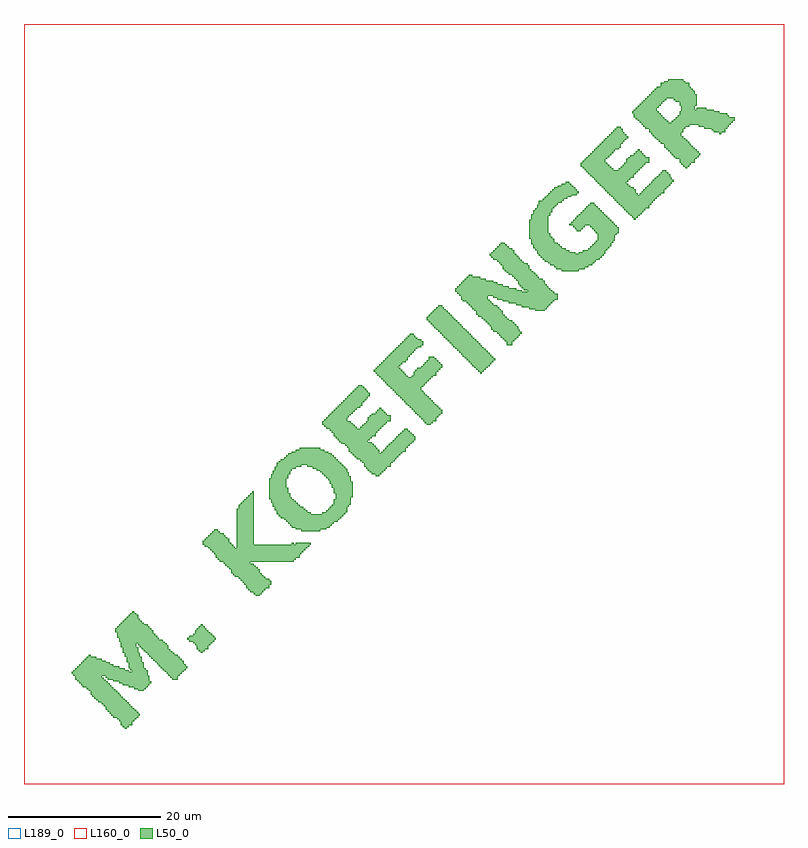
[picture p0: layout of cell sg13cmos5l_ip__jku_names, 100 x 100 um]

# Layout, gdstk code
import gdstk
lib = gdstk.Library(unit=1e-6, precision=1e-09)
def R(c, l, rs):  # rectangles x0, y0, x1, y1
    for r in rs: c.add(gdstk.rectangle(r[:2], r[2:], *l))
def P(c, l, *ps):  # polygons
    for p in ps: c.add(gdstk.Polygon(p, *l))
L50_0 = (50, 0)
L160_0 = (160, 0)
L189_0 = (189, 0)

sg13cmos5l_ip__jku_names = lib.new_cell('sg13cmos5l_ip__jku_names')
P(sg13cmos5l_ip__jku_names, L50_0, [(23.25,17.25),(23.25,17.5),(23,17.5),(23,17.75),(22.75,17.75),(22.75,18.25),(22.5,18.25),(22.5,18.5),(22.25,18.5),(22.25,18.75),(21.75,18.75),(21.75,19),(21.5,19),(21.5,19.25),(21.75,19.25),(21.75,19.5),(22.25,19.5),(22.25,19.75),(22.5,19.75),(22.5,20.25),(22.75,20.25),(22.75,20.5),(23,20.5),(23,20.75),(23.25,20.75),(23.25,21),(23.5,21),(23.5,20.75),(23.75,20.75),(23.75,20.5),(24,20.5),(24,20.25),(24.25,20.25),(24.25,20),(24.5,20),(24.5,19.75),(24.75,19.75),(24.75,19.5),(25,19.5),(25,19.25),(25.25,19.25),(25.25,19),(25,19),(25,18.75),(24.75,18.75),(24.75,18.5),(24.5,18.5),(24.5,18.25),(24.25,18.25),(24.25,17.75),(23.75,17.75),(23.75,17.5),(23.5,17.5),(23.5,17.25)],
  [(13.25,7.25),(13.25,7.5),(13,7.5),(13,7.75),(12.75,7.75),(12.75,8.25),(12.5,8.25),(12.5,8.5),(12.25,8.5),(12.25,8.75),(11.75,8.75),(11.75,9),(11.5,9),(11.5,9.25),(11.25,9.25),(11.25,9.5),(11,9.5),(11,9.75),(10.75,9.75),(10.75,10.25),(10.5,10.25),(10.5,10.5),(10.25,10.5),(10.25,10.75),(9.75,10.75),(9.75,11),(9.5,11),(9.5,11.25),(9.25,11.25),(9.25,11.5),(9,11.5),(9,11.75),(8.75,11.75),(8.75,12.25),(8.5,12.25),(8.5,12.5),(8.25,12.5),(8.25,12.75),(7.75,12.75),(7.75,13),(7.5,13),(7.5,13.25),(7.25,13.25),(7.25,13.5),(7,13.5),(7,13.75),(6.75,13.75),(6.75,14.25),(6.5,14.25),(6.5,14.5),(6.25,14.5),(6.25,14.75),(6.5,14.75),(6.5,15),(6.75,15),(6.75,15.25),(7,15.25),(7,15.5),(7.25,15.5),(7.25,15.75),(7.5,15.75),(7.5,16),(7.75,16),(7.75,16.25),(8,16.25),(8,16.5),(8.25,16.5),(8.25,16.75),(8.5,16.75),(8.5,17),(8.75,17),(8.75,16.75),(9.5,16.75),(9.5,16.5),(10.25,16.5),(10.25,16.25),(10.75,16.25),(10.75,16),(11.25,16),(11.25,15.75),(11.75,15.75),(11.75,15.5),(12.5,15.5),(12.5,15.25),(13.25,15.25),(13.25,15),(13.75,15),(13.75,14.75),(14.25,14.75),(14.25,15),(14,15),(14,15.25),(13.75,15.25),(13.75,16),(13.5,16),(13.5,16.75),(13.25,16.75),(13.25,17.25),(13,17.25),(13,18),(12.75,18),(12.75,18.75),(12.5,18.75),(12.5,19.25),(12.25,19.25),(12.25,20),(12,20),(12,20.5),(12.25,20.5),(12.25,20.75),(12.5,20.75),(12.5,21),(12.75,21),(12.75,21.25),(13,21.25),(13,21.5),(13.25,21.5),(13.25,21.75),(13.5,21.75),(13.5,22),(13.75,22),(13.75,22.25),(14,22.25),(14,22.5),(14.25,22.5),(14.25,22.75),(14.5,22.75),(14.5,22.5),(14.75,22.5),(14.75,22.25),(15,22.25),(15,21.75),(15.25,21.75),(15.25,21.5),(15.5,21.5),(15.5,21.25),(15.75,21.25),(15.75,21),(16.25,21),(16.25,20.75),(16.5,20.75),(16.5,20.5),(16.75,20.5),(16.75,20.25),(17,20.25),(17,19.75),(17.25,19.75),(17.25,19.5),(17.5,19.5),(17.5,19.25),(17.75,19.25),(17.75,19),(18.25,19),(18.25,18.75),(18.5,18.75),(18.5,18.5),(18.75,18.5),(18.75,18.25),(19,18.25),(19,17.75),(19.25,17.75),(19.25,17.5),(19.5,17.5),(19.5,17.25),(19.75,17.25),(19.75,17),(20.25,17),(20.25,16.75),(20.5,16.75),(20.5,16.5),(20.75,16.5),(20.75,16.25),(21,16.25),(21,15.75),(21.25,15.75),(21.25,15.5),(21.5,15.5),(21.5,15.25),(21.25,15.25),(21.25,15),(21,15),(21,14.75),(20.75,14.75),(20.75,14.5),(20.5,14.5),(20.5,14.25),(20.25,14.25),(20.25,13.75),(19.5,13.75),(19.5,14),(19.25,14),(19.25,14.25),(19,14.25),(19,14.5),(18.75,14.5),(18.75,14.75),(18.5,14.75),(18.5,15),(18.25,15),(18.25,15.25),(18,15.25),(18,15.5),(17.75,15.5),(17.75,15.75),(17.5,15.75),(17.5,16),(17.25,16),(17.25,16.25),(17,16.25),(17,16.5),(16.75,16.5),(16.75,16.75),(16.5,16.75),(16.5,17),(16.25,17),(16.25,17.25),(16,17.25),(16,17.5),(15.75,17.5),(15.75,17.75),(15.5,17.75),(15.5,18),(15.25,18),(15.25,18.25),(15,18.25),(15,18.5),(14.75,18.5),(14.75,18),(15,18),(15,17.25),(15.25,17.25),(15.25,16.75),(15.5,16.75),(15.5,16),(15.75,16),(15.75,15.25),(16,15.25),(16,15),(16.25,15),(16.25,14.25),(16.5,14.25),(16.5,13.5),(16.75,13.5),(16.75,13.25),(16.5,13.25),(16.5,13),(16.25,13),(16.25,12.75),(16,12.75),(16,12.5),(15.75,12.5),(15.75,12.25),(15,12.25),(15,12.5),(14.5,12.5),(14.5,12.75),(13.75,12.75),(13.75,13),(13,13),(13,13.25),(12.5,13.25),(12.5,13.5),(11.75,13.5),(11.75,13.75),(11,13.75),(11,14),(10.75,14),(10.75,14.25),(10.25,14.25),(10.25,14),(10.5,14),(10.5,13.75),(10.75,13.75),(10.75,13.5),(11,13.5),(11,13.25),(11.25,13.25),(11.25,13),(11.5,13),(11.5,12.75),(11.75,12.75),(11.75,12.5),(12,12.5),(12,12.25),(12.25,12.25),(12.25,12),(12.5,12),(12.5,11.75),(12.75,11.75),(12.75,11.5),(13,11.5),(13,11.25),(13.25,11.25),(13.25,11),(13.5,11),(13.5,10.75),(13.75,10.75),(13.75,10.5),(14,10.5),(14,10.25),(14.25,10.25),(14.25,10),(14.5,10),(14.5,9.75),(14.75,9.75),(14.75,9.5),(15,9.5),(15,9.25),(15.25,9.25),(15.25,9),(15,9),(15,8.75),(14.75,8.75),(14.75,8.5),(14.5,8.5),(14.5,8.25),(14.25,8.25),(14.25,7.75),(13.75,7.75),(13.75,7.5),(13.5,7.5),(13.5,7.25)],
  [(30.5,24.75),(30.5,25),(30.25,25),(30.25,25.25),(29.75,25.25),(29.75,25.5),(29.5,25.5),(29.5,25.75),(29.25,25.75),(29.25,26.25),(29,26.25),(29,26.5),(28.75,26.5),(28.75,26.75),(28.5,26.75),(28.5,27),(28.25,27),(28.25,27.25),(27.75,27.25),(27.75,27.5),(27.5,27.5),(27.5,27.75),(27.25,27.75),(27.25,28.25),(27,28.25),(27,28.5),(26.75,28.5),(26.75,28.75),(26.5,28.75),(26.5,29),(26.25,29),(26.25,29.25),(25.75,29.25),(25.75,29.5),(25.5,29.5),(25.5,29.75),(25.25,29.75),(25.25,30.25),(25,30.25),(25,30.5),(24.75,30.5),(24.75,30.75),(24.5,30.75),(24.5,31),(24.25,31),(24.25,31.25),(23.75,31.25),(23.75,31.5),(23.5,31.5),(23.5,32),(23.75,32),(23.75,32.25),(24,32.25),(24,32.5),(24.25,32.5),(24.25,32.75),(24.5,32.75),(24.5,33),(24.75,33),(24.75,33.25),(25,33.25),(25,33.5),(25.5,33.5),(25.5,33.25),(25.75,33.25),(25.75,33),(26.25,33),(26.25,32.75),(26.5,32.75),(26.5,32.5),(26.75,32.5),(26.75,32.25),(27,32.25),(27,31.75),(27.25,31.75),(27.25,31.5),(27.5,31.5),(27.5,31.25),(27.75,31.25),(27.75,31),(28,31),(28,36.25),(28.25,36.25),(28.25,36.75),(28.5,36.75),(28.5,37),(28.75,37),(28.75,37.25),(29,37.25),(29,37.5),(29.25,37.5),(29.25,37.75),(29.5,37.75),(29.5,38),(29.75,38),(29.75,38.25),(30,38.25),(30,38.5),(30.25,38.5),(30.25,31.5),(35.25,31.5),(35.25,31.75),(35.5,31.75),(35.5,31.5),(35.75,31.5),(35.75,31.75),(37.75,31.75),(37.75,31.5),(37.5,31.5),(37.5,31.25),(37.25,31.25),(37.25,31),(37,31),(37,30.75),(36.75,30.75),(36.75,30.5),(36.5,30.5),(36.5,30.25),(36.25,30.25),(36.25,29.75),(35.75,29.75),(35.75,29.5),(35.5,29.5),(35.5,29.25),(29.75,29.25),(29.75,29),(30.25,29),(30.25,28.75),(30.5,28.75),(30.5,28.5),(30.75,28.5),(30.75,28.25),(31,28.25),(31,27.75),(31.25,27.75),(31.25,27.5),(31.5,27.5),(31.5,27.25),(31.75,27.25),(31.75,27),(32.25,27),(32.25,26.75),(32.5,26.75),(32.5,26.25),(32.25,26.25),(32.25,25.75),(31.75,25.75),(31.75,25.5),(31.5,25.5),(31.5,25.25),(31.25,25.25),(31.25,25),(31,25),(31,24.75)],
  [(36.5,33.25),(36.5,33.5),(35.75,33.5),(35.75,33.75),(35.25,33.75),(35.25,34),(35,34),(35,34.25),(34.75,34.25),(34.75,34.5),(34.5,34.5),(34.5,34.75),(34.25,34.75),(34.25,35),(33.75,35),(33.75,35.25),(33.5,35.25),(33.5,35.5),(33.25,35.5),(33.25,36),(33,36),(33,36.5),(32.75,36.5),(32.75,37),(32.5,37),(32.5,37.5),(32.25,37.5),(32.25,40.25),(32.5,40.25),(32.5,40.75),(32.75,40.75),(32.75,41.25),(33,41.25),(33,41.75),(33.25,41.75),(33.25,42),(36.5,42),(36.5,41.75),(35.75,41.75),(35.75,41.5),(35.25,41.5),(35.25,41.25),(35,41.25),(35,40.75),(34.75,40.75),(34.75,40.25),(34.5,40.25),(34.5,39),(34.75,39),(34.75,38.25),(35,38.25),(35,37.75),(35.25,37.75),(35.25,37.5),(35.5,37.5),(35.5,37.25),(35.75,37.25),(35.75,37),(36,37),(36,36.75),(36.25,36.75),(36.25,36.5),(36.75,36.5),(36.75,36.25),(37,36.25),(37,36),(37.25,36),(37.25,35.75),(37.75,35.75),(37.75,35.5),(39.25,35.5),(39.25,35.75),(39.75,35.75),(39.75,36),(40,36),(40,36.25),(40.25,36.25),(40.25,36.5),(40.5,36.5),(40.5,36.75),(40.75,36.75),(40.75,37.5),(41,37.5),(41,38.25),(40.75,38.25),(40.75,39),(40.5,39),(40.5,39.5),(40.25,39.5),(40.25,40),(40,40),(40,40.25),(39.75,40.25),(39.75,40.5),(39.5,40.5),(39.5,40.75),(39.25,40.75),(39.25,41),(39,41),(39,41.25),(38.5,41.25),(38.5,41.5),(38,41.5),(38,41.75),(37.25,41.75),(37.25,42),(33.25,42),(33.25,42.25),(33.5,42.25),(33.5,42.5),(33.75,42.5),(33.75,42.75),(34.25,42.75),(34.25,43),(34.5,43),(34.5,43.25),(34.75,43.25),(34.75,43.5),(35.25,43.5),(35.25,43.75),(35.75,43.75),(35.75,44),(36.25,44),(36.25,44.25),(39,44.25),(39,44),(39.5,44),(39.5,43.75),(40,43.75),(40,43.5),(40.5,43.5),(40.5,43.25),(40.75,43.25),(40.75,43),(41,43),(41,42.75),(41.25,42.75),(41.25,42.5),(41.5,42.5),(41.5,42.25),(41.75,42.25),(41.75,42),(42,42),(42,41.75),(42.25,41.75),(42.25,41.5),(42.5,41.5),(42.5,41),(42.75,41),(42.75,40.5),(43,40.5),(43,39.75),(43.25,39.75),(43.25,37.75),(43,37.75),(43,36.75),(42.75,36.75),(42.75,36.5),(42.5,36.5),(42.5,35.75),(42.25,35.75),(42.25,35.5),(42,35.5),(42,35.25),(41.75,35.25),(41.75,35),(41.5,35),(41.5,34.75),(41.25,34.75),(41.25,34.5),(40.75,34.5),(40.75,34.25),(40.5,34.25),(40.5,34),(40.25,34),(40.25,33.75),(39.75,33.75),(39.75,33.5),(39,33.5),(39,33.25)],
  [(46.25,40.5),(46.25,40.75),(45.75,40.75),(45.75,41),(45.5,41),(45.5,41.25),(45.25,41.25),(45.25,41.5),(45,41.5),(45,41.75),(44.75,41.75),(44.75,42.25),(44.5,42.25),(44.5,42.5),(44.25,42.5),(44.25,42.75),(43.75,42.75),(43.75,43),(43.5,43),(43.5,43.25),(43.25,43.25),(43.25,43.5),(43,43.5),(43,43.75),(42.75,43.75),(42.75,44.25),(42.5,44.25),(42.5,44.5),(42.25,44.5),(42.25,44.75),(41.75,44.75),(41.75,45),(41.5,45),(41.5,45.25),(41.25,45.25),(41.25,45.5),(41,45.5),(41,45.75),(40.75,45.75),(40.75,46.25),(40.5,46.25),(40.5,46.5),(40.25,46.5),(40.25,46.75),(39.75,46.75),(39.75,47),(39.5,47),(39.5,47.25),(39.25,47.25),(39.25,47.75),(39.5,47.75),(39.5,48),(39.75,48),(39.75,48.25),(40,48.25),(40,48.5),(40.25,48.5),(40.25,48.75),(40.5,48.75),(40.5,49),(40.75,49),(40.75,49.25),(41,49.25),(41,49.5),(41.25,49.5),(41.25,49.75),(41.5,49.75),(41.5,50),(41.75,50),(41.75,50.25),(42,50.25),(42,50.5),(42.25,50.5),(42.25,50.75),(42.5,50.75),(42.5,51),(42.75,51),(42.75,51.25),(43,51.25),(43,51.5),(43.25,51.5),(43.25,51.75),(43.5,51.75),(43.5,52),(43.75,52),(43.75,52.25),(44,52.25),(44,52.5),(44.5,52.5),(44.5,52.25),(44.75,52.25),(44.75,52),(45,52),(45,51.75),(45.25,51.75),(45.25,51.5),(45.5,51.5),(45.5,51),(45.25,51),(45.25,50.75),(45,50.75),(45,50.5),(44.75,50.5),(44.75,50.25),(44.5,50.25),(44.5,49.75),(44.25,49.75),(44.25,49.5),(43.75,49.5),(43.75,49.25),(43.5,49.25),(43.5,49),(43.25,49),(43.25,48.75),(43,48.75),(43,48.5),(42.75,48.5),(42.75,48.25),(42.5,48.25),(42.5,47.75),(43,47.75),(43,47.5),(43.25,47.5),(43.25,47.25),(43.5,47.25),(43.5,47),(43.75,47),(43.75,46.75),(44.25,46.75),(44.25,47),(44.5,47),(44.5,47.25),(44.75,47.25),(44.75,47.5),(45,47.5),(45,47.75),(45.25,47.75),(45.25,48.25),(45.5,48.25),(45.5,48.5),(45.75,48.5),(45.75,48.75),(46.25,48.75),(46.25,49),(46.5,49),(46.5,49.25),(46.75,49.25),(46.75,49.5),(47,49.5),(47,49.25),(47.25,49.25),(47.25,49),(47.5,49),(47.5,48.75),(47.75,48.75),(47.75,48.5),(48.25,48.5),(48.25,47.75),(47.75,47.75),(47.75,47.5),(47.5,47.5),(47.5,47.25),(47.25,47.25),(47.25,47),(47,47),(47,46.75),(46.75,46.75),(46.75,46.5),(46.5,46.5),(46.5,46.25),(46.25,46.25),(46.25,45.75),(45.75,45.75),(45.75,45.5),(45.5,45.5),(45.5,45.25),(45.25,45.25),(45.25,45),(45.75,45),(45.75,44.75),(46,44.75),(46,44.5),(46.25,44.5),(46.25,44.25),(46.5,44.25),(46.5,44),(46.75,44),(46.75,43.5),(47,43.5),(47,43.75),(47.25,43.75),(47.25,44),(47.5,44),(47.5,44.25),(47.75,44.25),(47.75,44.5),(48,44.5),(48,44.75),(48.25,44.75),(48.25,45),(48.5,45),(48.5,45.25),(48.75,45.25),(48.75,45.5),(49,45.5),(49,45.75),(49.25,45.75),(49.25,46),(49.5,46),(49.5,46.25),(49.75,46.25),(49.75,46.5),(50,46.5),(50,46.75),(50.5,46.75),(50.5,46.5),(50.75,46.5),(50.75,46.25),(51,46.25),(51,46),(51.25,46),(51.25,45.75),(51.5,45.75),(51.5,45.25),(51.25,45.25),(51.25,45),(51,45),(51,44.75),(50.75,44.75),(50.75,44.5),(50.5,44.5),(50.5,44.25),(50.25,44.25),(50.25,43.75),(49.75,43.75),(49.75,43.5),(49.5,43.5),(49.5,43.25),(49.25,43.25),(49.25,43),(49,43),(49,42.75),(48.75,42.75),(48.75,42.5),(48.5,42.5),(48.5,42.25),(48.25,42.25),(48.25,41.75),(47.75,41.75),(47.75,41.5),(47.5,41.5),(47.5,41.25),(47.25,41.25),(47.25,41),(47,41),(47,40.75),(46.75,40.75),(46.75,40.5)],
  [(53,47.25),(53,47.5),(52.75,47.5),(52.75,47.75),(52.5,47.75),(52.5,48),(52.25,48),(52.25,48.25),(52,48.25),(52,48.5),(51.75,48.5),(51.75,48.75),(51.5,48.75),(51.5,49),(51.25,49),(51.25,49.25),(51,49.25),(51,49.5),(50.75,49.5),(50.75,49.75),(50.5,49.75),(50.5,50),(50.25,50),(50.25,50.25),(50,50.25),(50,50.5),(49.75,50.5),(49.75,50.75),(49.5,50.75),(49.5,51),(49.25,51),(49.25,51.25),(49,51.25),(49,51.5),(48.75,51.5),(48.75,51.75),(48.5,51.75),(48.5,52),(48.25,52),(48.25,52.25),(48,52.25),(48,52.5),(47.75,52.5),(47.75,52.75),(47.5,52.75),(47.5,53),(47.25,53),(47.25,53.25),(47,53.25),(47,53.5),(46.75,53.5),(46.75,53.75),(46.5,53.75),(46.5,54),(46.25,54),(46.25,54.25),(46,54.25),(46,54.5),(46.25,54.5),(46.25,54.75),(46.5,54.75),(46.5,55),(46.75,55),(46.75,55.25),(47,55.25),(47,55.5),(47.25,55.5),(47.25,55.75),(47.5,55.75),(47.5,56),(47.75,56),(47.75,56.25),(48,56.25),(48,56.5),(48.25,56.5),(48.25,56.75),(48.5,56.75),(48.5,57),(48.75,57),(48.75,57.25),(49,57.25),(49,57.5),(49.25,57.5),(49.25,57.75),(49.5,57.75),(49.5,58),(49.75,58),(49.75,58.25),(50,58.25),(50,58.5),(50.25,58.5),(50.25,58.75),(50.5,58.75),(50.5,59),(50.75,59),(50.75,59.25),(51.25,59.25),(51.25,59),(51.5,59),(51.5,58.75),(51.75,58.75),(51.75,58.5),(52.25,58.5),(52.25,58.25),(52.5,58.25),(52.5,57.75),(52.25,57.75),(52.25,57.5),(51.75,57.5),(51.75,57.25),(51.5,57.25),(51.5,57),(51.25,57),(51.25,56.75),(51,56.75),(51,56.5),(50.75,56.5),(50.75,56.25),(50.5,56.25),(50.5,55.75),(50.25,55.75),(50.25,55.5),(49.75,55.5),(49.75,55.25),(49.5,55.25),(49.5,55),(49.25,55),(49.25,54.75),(49.5,54.75),(49.5,54.5),(49.75,54.5),(49.75,54.25),(50,54.25),(50,54),(50.25,54),(50.25,53.75),(50.5,53.75),(50.5,53.5),(51,53.5),(51,53.75),(51.25,53.75),(51.25,54.25),(51.5,54.25),(51.5,54.5),(51.75,54.5),(51.75,54.75),(52.25,54.75),(52.25,55),(52.5,55),(52.5,55.25),(52.75,55.25),(52.75,55.5),(53,55.5),(53,55.75),(53.25,55.75),(53.25,56.25),(54,56.25),(54,56),(54.25,56),(54.25,55.75),(54.5,55.75),(54.5,55.5),(54.75,55.5),(54.75,55.25),(55,55.25),(55,54.75),(54.75,54.75),(54.75,54.5),(54.5,54.5),(54.5,54.25),(54.25,54.25),(54.25,53.75),(53.75,53.75),(53.75,53.5),(53.5,53.5),(53.5,53.25),(53.25,53.25),(53.25,53),(53,53),(53,52.75),(52.75,52.75),(52.75,52.5),(52.5,52.5),(52.5,52.25),(52.25,52.25),(52.25,51.75),(52.5,51.75),(52.5,51.5),(52.75,51.5),(52.75,51.25),(53,51.25),(53,51),(53.25,51),(53.25,50.75),(53.5,50.75),(53.5,50.5),(53.75,50.5),(53.75,50.25),(54,50.25),(54,50),(54.25,50),(54.25,49.75),(54.5,49.75),(54.5,49.5),(54.75,49.5),(54.75,49.25),(55,49.25),(55,48.75),(54.75,48.75),(54.75,48.5),(54.5,48.5),(54.5,48.25),(54.25,48.25),(54.25,47.75),(53.75,47.75),(53.75,47.5),(53.5,47.5),(53.5,47.25)],
  [(60,54),(60,54.25),(59.75,54.25),(59.75,54.5),(59.5,54.5),(59.5,54.75),(59.25,54.75),(59.25,55),(59,55),(59,55.25),(58.75,55.25),(58.75,55.5),(58.5,55.5),(58.5,55.75),(58.25,55.75),(58.25,56),(58,56),(58,56.25),(57.75,56.25),(57.75,56.5),(57.5,56.5),(57.5,56.75),(57.25,56.75),(57.25,57),(57,57),(57,57.25),(56.75,57.25),(56.75,57.5),(56.5,57.5),(56.5,57.75),(56.25,57.75),(56.25,58),(56,58),(56,58.25),(55.75,58.25),(55.75,58.5),(55.5,58.5),(55.5,58.75),(55.25,58.75),(55.25,59),(55,59),(55,59.25),(54.75,59.25),(54.75,59.5),(54.5,59.5),(54.5,59.75),(54.25,59.75),(54.25,60),(54,60),(54,60.25),(53.75,60.25),(53.75,60.5),(53.5,60.5),(53.5,60.75),(53.25,60.75),(53.25,61),(53,61),(53,61.5),(53.25,61.5),(53.25,61.75),(53.5,61.75),(53.5,62),(53.75,62),(53.75,62.25),(54,62.25),(54,62.5),(54.25,62.5),(54.25,62.75),(54.5,62.75),(54.5,63),(55,63),(55,62.75),(55.25,62.75),(55.25,62.5),(55.5,62.5),(55.5,62.25),(55.75,62.25),(55.75,62),(56,62),(56,61.75),(56.25,61.75),(56.25,61.5),(56.5,61.5),(56.5,61.25),(56.75,61.25),(56.75,61),(57,61),(57,60.75),(57.25,60.75),(57.25,60.5),(57.5,60.5),(57.5,60.25),(57.75,60.25),(57.75,60),(58,60),(58,59.75),(58.25,59.75),(58.25,59.5),(58.5,59.5),(58.5,59.25),(58.75,59.25),(58.75,59),(59,59),(59,58.75),(59.25,58.75),(59.25,58.5),(59.5,58.5),(59.5,58.25),(59.75,58.25),(59.75,58),(60,58),(60,57.75),(60.25,57.75),(60.25,57.5),(60.5,57.5),(60.5,57.25),(60.75,57.25),(60.75,57),(61,57),(61,56.75),(61.25,56.75),(61.25,56.5),(61.5,56.5),(61.5,56.25),(61.75,56.25),(61.75,56),(62,56),(62,55.75),(61.75,55.75),(61.75,55.5),(61.5,55.5),(61.5,55.25),(61.25,55.25),(61.25,55),(61,55),(61,54.75),(60.75,54.75),(60.75,54.5),(60.5,54.5),(60.5,54.25),(60.25,54.25),(60.25,54)],
  [(63.5,57.75),(63.5,58.25),(63.25,58.25),(63.25,58.5),(63,58.5),(63,58.75),(62.75,58.75),(62.75,59),(62.5,59),(62.5,59.25),(62.25,59.25),(62.25,59.5),(61.75,59.5),(61.75,59.75),(61.5,59.75),(61.5,60.25),(61.25,60.25),(61.25,60.5),(61,60.5),(61,60.75),(60.75,60.75),(60.75,61),(60.5,61),(60.5,61.25),(60.25,61.25),(60.25,61.5),(59.75,61.5),(59.75,61.75),(59.5,61.75),(59.5,62.25),(59.25,62.25),(59.25,62.5),(59,62.5),(59,62.75),(58.75,62.75),(58.75,63),(58.5,63),(58.5,63.25),(58.25,63.25),(58.25,63.5),(57.75,63.5),(57.75,63.75),(57.5,63.75),(57.5,64.25),(57.25,64.25),(57.25,64.5),(57,64.5),(57,64.75),(56.75,64.75),(56.75,65.25),(57,65.25),(57,65.5),(57.25,65.5),(57.25,65.75),(57.5,65.75),(57.5,66),(57.75,66),(57.75,66.25),(58,66.25),(58,66.5),(58.25,66.5),(58.25,66.75),(58.5,66.75),(58.5,67),(59,67),(59,66.75),(60,66.75),(60,66.5),(60.75,66.5),(60.75,66.25),(61.75,66.25),(61.75,66),(62.25,66),(62.25,65.75),(63,65.75),(63,65.5),(63.75,65.5),(63.75,65.25),(64.75,65.25),(64.75,65),(65.5,65),(65.5,64.75),(66.25,64.75),(66.25,65),(65.75,65),(65.75,65.25),(65.5,65.25),(65.5,65.5),(65.25,65.5),(65.25,65.75),(65,65.75),(65,66.25),(64.75,66.25),(64.75,66.5),(64.5,66.5),(64.5,66.75),(64.25,66.75),(64.25,67),(63.75,67),(63.75,67.25),(63.5,67.25),(63.5,67.5),(63.25,67.5),(63.25,67.75),(63,67.75),(63,68.25),(62.75,68.25),(62.75,68.5),(62.5,68.5),(62.5,68.75),(62.25,68.75),(62.25,69),(61.75,69),(61.75,69.25),(61.5,69.25),(61.5,69.5),(61.25,69.5),(61.25,69.75),(61.5,69.75),(61.5,70),(61.75,70),(61.75,70.25),(62,70.25),(62,70.5),(62.25,70.5),(62.25,70.75),(62.5,70.75),(62.5,71),(62.75,71),(62.75,71.25),(63.25,71.25),(63.25,71),(63.5,71),(63.5,70.75),(63.75,70.75),(63.75,70.5),(64.25,70.5),(64.25,70.25),(64.5,70.25),(64.5,69.75),(64.75,69.75),(64.75,69.5),(65,69.5),(65,69.25),(65.25,69.25),(65.25,69),(65.5,69),(65.5,68.75),(65.75,68.75),(65.75,68.5),(66.25,68.5),(66.25,68.25),(66.5,68.25),(66.5,67.75),(66.75,67.75),(66.75,67.5),(67,67.5),(67,67.25),(67.25,67.25),(67.25,67),(67.5,67),(67.5,66.75),(67.75,66.75),(67.75,66.5),(68.25,66.5),(68.25,66.25),(68.5,66.25),(68.5,65.75),(68.75,65.75),(68.75,65.5),(69,65.5),(69,65.25),(69.25,65.25),(69.25,65),(69.5,65),(69.5,64.75),(69.75,64.75),(69.75,64.5),(70.25,64.5),(70.25,63.75),(69.75,63.75),(69.75,63.5),(69.5,63.5),(69.5,63.25),(69.25,63.25),(69.25,63),(69,63),(69,62.75),(68.75,62.75),(68.75,62.5),(68.5,62.5),(68.5,62.25),(67.25,62.25),(67.25,62.5),(66.5,62.5),(66.5,62.75),(65.5,62.75),(65.5,63),(64.75,63),(64.75,63.25),(63.75,63.25),(63.75,63.5),(63,63.5),(63,63.75),(62.25,63.75),(62.25,64),(61.75,64),(61.75,64.25),(61,64.25),(61,63.75),(61.25,63.75),(61.25,63.5),(61.5,63.5),(61.5,63.25),(61.75,63.25),(61.75,63),(62.25,63),(62.25,62.75),(62.5,62.75),(62.5,62.5),(62.75,62.5),(62.75,62.25),(63,62.25),(63,61.75),(63.25,61.75),(63.25,61.5),(63.5,61.5),(63.5,61.25),(63.75,61.25),(63.75,61),(64.25,61),(64.25,60.75),(64.5,60.75),(64.5,60.5),(64.75,60.5),(64.75,60.25),(65,60.25),(65,59.75),(65.25,59.75),(65.25,59.5),(65.5,59.5),(65.5,59.25),(65.25,59.25),(65.25,59),(65,59),(65,58.75),(64.75,58.75),(64.75,58.5),(64.5,58.5),(64.5,58.25),(64.25,58.25),(64.25,57.75)],
  [(70.75,67.5),(70.75,67.75),(70,67.75),(70,68),(69.75,68),(69.75,68.25),(69.25,68.25),(69.25,68.5),(69,68.5),(69,68.75),(68.5,68.75),(68.5,69),(68.25,69),(68.25,69.25),(68,69.25),(68,69.5),(67.75,69.5),(67.75,69.75),(67.5,69.75),(67.5,70.25),(67.25,70.25),(67.25,70.5),(67,70.5),(67,71),(66.75,71),(66.75,71.75),(66.5,71.75),(66.5,74.25),(66.75,74.25),(66.75,75),(67,75),(67,75.5),(67.25,75.5),(67.25,75.75),(67.5,75.75),(67.5,76.25),(67.75,76.25),(67.75,76.75),(68.25,76.75),(68.25,77),(68.5,77),(68.5,77.25),(68.75,77.25),(68.75,77.5),(69,77.5),(69,77.75),(69.25,77.75),(69.25,78),(69.5,78),(69.5,78.25),(69.75,78.25),(69.75,78.5),(70.25,78.5),(70.25,78.75),(70.75,78.75),(70.75,79),(71.25,79),(71.25,79.25),(71.75,79.25),(71.75,79),(72,79),(72,78.75),(72.25,78.75),(72.25,78.5),(72.5,78.5),(72.5,78.25),(72.75,78.25),(72.75,78),(73,78),(73,77.75),(72.75,77.75),(72.75,77.5),(72,77.5),(72,77.25),(71.5,77.25),(71.5,77),(71,77),(71,76.75),(70.75,76.75),(70.75,76.5),(70.25,76.5),(70.25,76.25),(70,76.25),(70,76),(69.75,76),(69.75,75.75),(69.5,75.75),(69.5,75.25),(69.25,75.25),(69.25,74.75),(69,74.75),(69,72.5),(69.25,72.5),(69.25,72),(69.5,72),(69.5,71.75),(69.75,71.75),(69.75,71.25),(70.25,71.25),(70.25,71),(70.5,71),(70.5,70.75),(70.75,70.75),(70.75,70.5),(71.25,70.5),(71.25,70.25),(71.75,70.25),(71.75,70),(72.5,70),(72.5,69.75),(73,69.75),(73,70),(73.5,70),(73.5,70.25),(74.25,70.25),(74.25,70.5),(74.5,70.5),(74.5,70.75),(74.75,70.75),(74.75,71),(75,71),(75,71.25),(75.25,71.25),(75.25,71.5),(75.5,71.5),(75.5,72.5),(75.25,72.5),(75.25,72.75),(75,72.75),(75,73),(74.75,73),(74.75,73.25),(74.5,73.25),(74.5,73.5),(73.75,73.5),(73.75,73.25),(73.5,73.25),(73.5,73),(73.25,73),(73.25,72.75),(72.75,72.75),(72.75,73),(72.5,73),(72.5,73.25),(72.25,73.25),(72.25,73.5),(71.75,73.5),(71.75,73.75),(72,73.75),(72,74),(72.25,74),(72.25,74.25),(72.5,74.25),(72.5,74.5),(72.75,74.5),(72.75,74.75),(73,74.75),(73,75),(73.25,75),(73.25,75.25),(73.5,75.25),(73.5,75.5),(73.75,75.5),(73.75,75.75),(74,75.75),(74,76),(74.25,76),(74.25,76.25),(74.5,76.25),(74.5,76.5),(75,76.5),(75,76.25),(75.25,76.25),(75.25,76),(75.5,76),(75.5,75.75),(75.75,75.75),(75.75,75.5),(76,75.5),(76,75.25),(76.25,75.25),(76.25,75),(76.5,75),(76.5,74.75),(76.75,74.75),(76.75,74.5),(77,74.5),(77,74.25),(77.25,74.25),(77.25,74),(77.5,74),(77.5,73.75),(77.75,73.75),(77.75,73.5),(78,73.5),(78,73.25),(78.25,73.25),(78.25,72.5),(78,72.5),(78,72.25),(77.75,72.25),(77.75,71.5),(77.5,71.5),(77.5,71.25),(77.25,71.25),(77.25,70.75),(77,70.75),(77,70.5),(76.75,70.5),(76.75,70.25),(76.5,70.25),(76.5,69.75),(76.25,69.75),(76.25,69.5),(76,69.5),(76,69.25),(75.75,69.25),(75.75,69),(75.25,69),(75.25,68.75),(75,68.75),(75,68.5),(74.75,68.5),(74.75,68.25),(74.25,68.25),(74.25,68),(73.75,68),(73.75,67.75),(73,67.75),(73,67.5)],
  [(80.25,74.25),(80.25,74.5),(80,74.5),(80,74.75),(79.75,74.75),(79.75,75),(79.5,75),(79.5,75.25),(79.25,75.25),(79.25,75.5),(79,75.5),(79,75.75),(78.75,75.75),(78.75,76),(78.5,76),(78.5,76.25),(78.25,76.25),(78.25,76.5),(78,76.5),(78,76.75),(77.75,76.75),(77.75,77),(77.5,77),(77.5,77.25),(77.25,77.25),(77.25,77.5),(77,77.5),(77,77.75),(76.75,77.75),(76.75,78),(76.5,78),(76.5,78.25),(76.25,78.25),(76.25,78.5),(76,78.5),(76,78.75),(75.75,78.75),(75.75,79),(75.5,79),(75.5,79.25),(75.25,79.25),(75.25,79.5),(75,79.5),(75,79.75),(74.75,79.75),(74.75,80),(74.5,80),(74.5,80.25),(74.25,80.25),(74.25,80.5),(74,80.5),(74,80.75),(73.75,80.75),(73.75,81),(73.5,81),(73.5,81.25),(73.25,81.25),(73.25,81.75),(73.5,81.75),(73.5,82),(73.75,82),(73.75,82.25),(74,82.25),(74,82.5),(74.25,82.5),(74.25,82.75),(74.5,82.75),(74.5,83),(74.75,83),(74.75,83.25),(75,83.25),(75,83.5),(75.25,83.5),(75.25,83.75),(75.5,83.75),(75.5,84),(75.75,84),(75.75,84.25),(76,84.25),(76,84.5),(76.25,84.5),(76.25,84.75),(76.5,84.75),(76.5,85),(76.75,85),(76.75,85.25),(77,85.25),(77,85.5),(77.25,85.5),(77.25,85.75),(77.5,85.75),(77.5,86),(77.75,86),(77.75,86.25),(78,86.25),(78,86.5),(78.5,86.5),(78.5,86.25),(78.75,86.25),(78.75,85.75),(79,85.75),(79,85.5),(79.25,85.5),(79.25,85.25),(79.5,85.25),(79.5,85),(79.25,85),(79.25,84.75),(79,84.75),(79,84.5),(78.75,84.5),(78.75,84.25),(78.5,84.25),(78.5,83.75),(78.25,83.75),(78.25,83.5),(77.75,83.5),(77.75,83.25),(77.5,83.25),(77.5,83),(77.25,83),(77.25,82.75),(77,82.75),(77,82.5),(76.75,82.5),(76.75,82.25),(76.5,82.25),(76.5,81.75),(76.75,81.75),(76.75,81.5),(77,81.5),(77,81.25),(77.25,81.25),(77.25,81),(77.5,81),(77.5,80.75),(78.25,80.75),(78.25,81),(78.5,81),(78.5,81.25),(78.75,81.25),(78.75,81.5),(79,81.5),(79,81.75),(79.25,81.75),(79.25,82.25),(79.5,82.25),(79.5,82.5),(79.75,82.5),(79.75,82.75),(80.25,82.75),(80.25,83),(80.5,83),(80.5,83.25),(80.75,83.25),(80.75,83.5),(81,83.5),(81,83.25),(81.25,83.25),(81.25,83),(81.5,83),(81.5,82.75),(81.75,82.75),(81.75,82.5),(82.25,82.5),(82.25,81.75),(81.75,81.75),(81.75,81.5),(81.5,81.5),(81.5,81.25),(81.25,81.25),(81.25,81),(81,81),(81,80.75),(80.75,80.75),(80.75,80.5),(80.5,80.5),(80.5,80.25),(80.25,80.25),(80.25,79.75),(79.75,79.75),(79.75,79.5),(79.5,79.5),(79.5,79.25),(79.25,79.25),(79.25,79),(79.5,79),(79.5,78.75),(79.75,78.75),(79.75,78.5),(80.25,78.5),(80.25,78.25),(80.5,78.25),(80.5,77.75),(80.75,77.75),(80.75,77.5),(81,77.5),(81,77.75),(81.25,77.75),(81.25,78),(81.5,78),(81.5,78.25),(81.75,78.25),(81.75,78.5),(82,78.5),(82,78.75),(82.25,78.75),(82.25,79),(82.5,79),(82.5,79.25),(82.75,79.25),(82.75,79.5),(83,79.5),(83,79.75),(83.25,79.75),(83.25,80),(83.5,80),(83.5,80.25),(83.75,80.25),(83.75,80.5),(84,80.5),(84,80.75),(84.5,80.75),(84.5,80.5),(84.75,80.5),(84.75,80.25),(85,80.25),(85,79.75),(85.25,79.75),(85.25,79.5),(85.5,79.5),(85.5,79.25),(85.25,79.25),(85.25,79),(85,79),(85,78.75),(84.75,78.75),(84.75,78.5),(84.5,78.5),(84.5,78.25),(84.25,78.25),(84.25,77.75),(83.75,77.75),(83.75,77.5),(83.5,77.5),(83.5,77.25),(83.25,77.25),(83.25,77),(83,77),(83,76.75),(82.75,76.75),(82.75,76.5),(82.5,76.5),(82.5,76.25),(82.25,76.25),(82.25,75.75),(81.75,75.75),(81.75,75.5),(81.5,75.5),(81.5,75.25),(81.25,75.25),(81.25,75),(81,75),(81,74.75),(80.75,74.75),(80.75,74.5),(80.5,74.5),(80.5,74.25)],
  [(87,81),(87,81.25),(86.75,81.25),(86.75,81.5),(86.5,81.5),(86.5,81.75),(86.25,81.75),(86.25,82.25),(85.75,82.25),(85.75,82.5),(85.5,82.5),(85.5,82.75),(85.25,82.75),(85.25,83),(85,83),(85,83.25),(84.75,83.25),(84.75,83.5),(84.5,83.5),(84.5,83.75),(84.25,83.75),(84.25,84.25),(83.75,84.25),(83.75,84.5),(83.5,84.5),(83.5,84.75),(83.25,84.75),(83.25,85),(83,85),(83,85.25),(82.75,85.25),(82.75,85.5),(82.5,85.5),(82.5,85.75),(82.25,85.75),(82.25,86.25),(81.75,86.25),(81.75,86.5),(81.5,86.5),(81.5,86.75),(81.25,86.75),(81.25,87),(81,87),(81,87.25),(80.75,87.25),(80.75,87.5),(80.5,87.5),(80.5,87.75),(80.25,87.75),(80.25,88.25),(80,88.25),(80,88.5),(80.25,88.5),(80.25,88.75),(80.5,88.75),(80.5,89),(80.75,89),(80.75,89.25),(81,89.25),(81,89.5),(81.25,89.5),(81.25,89.75),(81.5,89.75),(81.5,90),(81.75,90),(81.75,90.25),(84.5,90.25),(84.5,90),(84.25,90),(84.25,89.75),(84,89.75),(84,89.5),(83.75,89.5),(83.75,89.25),(83.5,89.25),(83.5,89),(83.25,89),(83.25,88.5),(83.5,88.5),(83.5,88.25),(83.75,88.25),(83.75,88),(84,88),(84,87.75),(84.25,87.75),(84.25,87.5),(84.5,87.5),(84.5,87.25),(84.75,87.25),(84.75,87),(85.25,87),(85.25,87.25),(85.5,87.25),(85.5,87.5),(85.75,87.5),(85.75,87.75),(86,87.75),(86,88),(86.25,88),(86.25,88.5),(86.5,88.5),(86.5,89.25),(86.25,89.25),(86.25,89.75),(85.75,89.75),(85.75,90),(85.5,90),(85.5,90.25),(82,90.25),(82,90.5),(82.25,90.5),(82.25,90.75),(82.5,90.75),(82.5,91),(82.75,91),(82.75,91.25),(83,91.25),(83,91.5),(83.25,91.5),(83.25,91.75),(83.75,91.75),(83.75,92.25),(84.25,92.25),(84.25,92.5),(84.75,92.5),(84.75,92.75),(86.75,92.75),(86.75,92.5),(87,92.5),(87,92.25),(87.5,92.25),(87.5,91.75),(87.75,91.75),(87.75,91.5),(88,91.5),(88,91.25),(88.25,91.25),(88.25,90.75),(88.5,90.75),(88.5,89.25),(88.25,89.25),(88.25,88.75),(88.5,88.75),(88.5,89),(89.75,89),(89.75,88.75),(90.75,88.75),(90.75,88.5),(91.5,88.5),(91.5,88.25),(92.5,88.25),(92.5,88),(92.75,88),(92.75,87.75),(93.5,87.75),(93.5,87.25),(93.25,87.25),(93.25,87),(93,87),(93,86.75),(92.75,86.75),(92.75,86.5),(92.5,86.5),(92.5,86.25),(92.25,86.25),(92.25,85.75),(91.75,85.75),(91.75,85.5),(91.5,85.5),(91.5,85.75),(90.75,85.75),(90.75,86),(90.5,86),(90.5,86.25),(89.5,86.25),(89.5,86.5),(88.75,86.5),(88.75,86.75),(87.5,86.75),(87.5,86.5),(87,86.5),(87,86.25),(86.75,86.25),(86.75,85.75),(86.5,85.75),(86.5,85.25),(86.75,85.25),(86.75,85),(87,85),(87,84.75),(87.25,84.75),(87.25,84.5),(87.5,84.5),(87.5,84.25),(87.75,84.25),(87.75,84),(88,84),(88,83.75),(88.25,83.75),(88.25,83.5),(88.5,83.5),(88.5,83.25),(88.75,83.25),(88.75,83),(89,83),(89,82.75),(88.75,82.75),(88.75,82.5),(88.5,82.5),(88.5,82.25),(88.25,82.25),(88.25,81.75),(87.75,81.75),(87.75,81.5),(87.5,81.5),(87.5,81.25),(87.25,81.25),(87.25,81)])
R(sg13cmos5l_ip__jku_names, L160_0, [(0,0,100,100)])
R(sg13cmos5l_ip__jku_names, L189_0, [(0,0,100,100)])

lib.write_gds('sg13cmos5l_ip__jku_names.gds')
